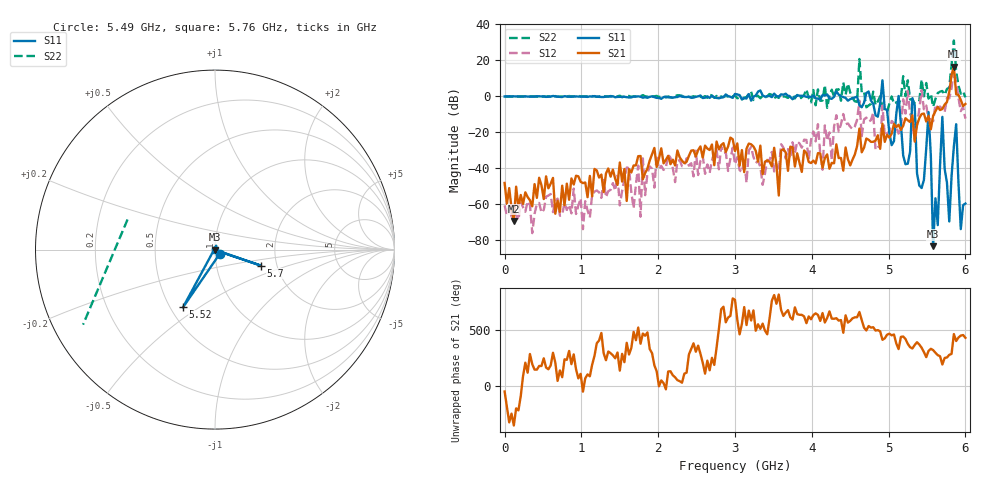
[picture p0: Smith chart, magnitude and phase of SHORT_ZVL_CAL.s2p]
#  HZ  S  DB  R  50.0
! Rohde & Schwarz ZVL13 2Ports - Version 3.20 - 1303.6509k13 SN: 100953
! Date: 2024-10-09 07:55:16
! Data & Calibration Information:
! Trc1:S11(TOSM) Trc4:S21(TOSM) Trc2:S12(TOSM) Trc3:S22(TOSM)
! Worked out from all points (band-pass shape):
!   201 points, 9 kHz to 6 GHz, reference 50 ohm
!   highest |S21| = 16.48 dB at 5.85 GHz (marker M1); lowest = -69.2 dB at 120 MHz (marker M2)
!   |S21| within 3 dB of the highest: 5.829913 GHz to 5.855881 GHz (25.97 MHz wide, 0.444 % of centre)
!   lowest |S11| = -83.2 dB at 5.58 GHz (marker M3), VSWR 1.00, Z = 50 + j0.00491 ohm
!   |S11| at or under -10 dB: 5.15 GHz to 5.301 GHz (150.7 MHz wide, 2.88 % of centre); 5.344 GHz to 5.518 GHz (174.1 MHz wide, 3.21 % of centre); 5.522 GHz to end of sweep (the widest 3 of 5)
!   |S22| runs from -8.7 to 31.1 dB; largest |S21 - S12| = 12
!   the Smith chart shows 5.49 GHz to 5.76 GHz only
!   S11 on the Smith chart (normalised r, x): 5.49 GHz: 1.05, -0.05; 5.52 GHz: 0.58, -0.43; 5.7 GHz: 1.65, -0.32; 5.76 GHz: 1.00, -0.01
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9000  -0.01 -179.8  -48.06 -45.8  -60.45 -49.0  -0.01 -179.9
1.200088e8  0.06 179.0  -69.20 15.1  -64.72 -11.4  -0.19 -179.5
1.020007e9  -0.07 -179.8  -48.16 -47.2  -73.72 135.8  -0.05 179.6
2.010006e9  -0.87 -179.4  -34.38 -0.1  -40.29 -115.1  -0.37 179.6
3.000004e9  1.39 158.5  -30.31 42.4  -37.72 104.9  0.66 165.1
4.020003e9  0.48 -173.8  -35.64 -93.3  -19.42 -69.4  3.56 165.0
4.590002e9  -0.12 -173.9  -27.57 -112.0  -12.93 155.6  -3.02 89.5
4.620002e9  -4.88 153.1  -17.84 -65.7  -2.34 65.6  20.83 61.3
4.650002e9  -5.99 123.5  -31.04 -136.6  -22.10 127.0  2.33 170.1
4.890002e9  -4.13 85.7  -29.10 123.8  -27.38 -36.7  0.10 -170.6
4.920002e9  9.00 163.3  -15.18 49.2  -5.02 -3.1  -5.79 -144.8
5.010001e9  -20.39 69.6  -22.89 102.9  -19.42 76.3  -3.98 -154.5
5.490001e9  -28.98 -43.6  -13.92 -103.3  -5.04 162.7  7.48 164.0
5.520001e9  -8.68 -119.0  -10.69 -49.0  -12.59 153.4  -1.20 177.5
5.580001e9  -83.17 45.0  -10.74 -41.5  -13.75 -129.1  -5.76 161.0
5.7e9  -11.33 -19.2  -6.98 -168.3  -7.14 134.3  3.04 150.2
5.76e9  -47.85 -88.2  -3.09 -106.7  -0.79 179.2  4.16 -161.3
5.79e9  -69.46 -5.1  2.46 -83.2  -1.07 -176.1  4.95 -131.8
5.82e9  -44.22 -178.7  12.00 -74.8  4.57 161.9  17.64 -113.8
5.85e9  -27.72 99.8  16.48 99.7  14.95 -55.0  31.10 -153.6
5.88e9  -15.43 17.3  1.18 38.5  7.85 -29.3  13.82 -172.2
6e9  -59.51 83.8  -4.17 67.1  -12.35 -14.0  -0.51 178.3
